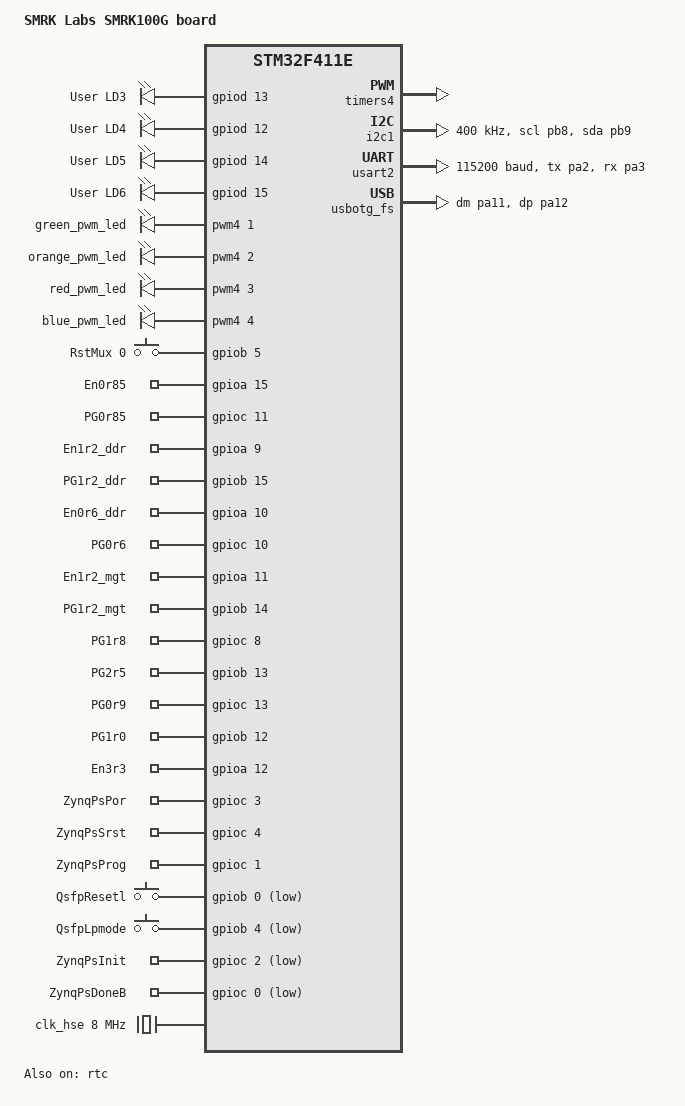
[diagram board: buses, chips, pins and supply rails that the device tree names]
/*
 * Copyright (c) 2017 Fenix Engineering Solutions
 *
 * SPDX-License-Identifier: Apache-2.0
 */

/dts-v1/;
#include <st/f4/stm32f411Xe.dtsi>
#include <st/f4/stm32f411v(c-e)tx-pinctrl.dtsi>

&flash0 {
	reg = <0x08000000 DT_SIZE_K(512)>;
	partitions {
                compatible = "fixed-partitions";
                #address-cells = <1>;
                #size-cells = <1>;
/**************************************
are these needed??? also, second number is a size, ending address....
		boot_partition: partition@0 {
			  label = "mcuboot";
			  reg = <0x00000000 0x0000C000>; 
			  read-only;
		};
		sector_3_partition: partition@C000 {
			  label = "sector3";
			  reg = <0x0000C000 0x00010000>; 
		};
		storage_partition: partition@10000 {
			  label = "storage";
			  reg = <0x00010000 0x000200000>; 
		};
*******************************************/
		boot_partition: partition@0 {
			  label = "mcuboot";
			  reg = <0x00000000 DT_SIZE_K(48)>;
			  read-only;
		};
		user_partition: partition@C000 {
			label = "user";
			reg = <0x0000C000 DT_SIZE_K(80)>;
		};
		/* image 0 & 1 are for apps */
		slot0_partition: partition@20000 {
			  label = "image-0";
			  reg = <0x00020000 DT_SIZE_K(128)>;
		};
		slot1_partition: partition@40000 {
			  label = "image-1";
			  reg = <0x00040000 DT_SIZE_K(128)>;
		};
		scratch_partition: partition@60000 {
			  label = "image-scratch";
			  reg = <0x00060000 DT_SIZE_K(128)>;
		}; 
	};
};

/ {
	model = "SMRK Labs SMRK100G board";
	compatible = "st,stm32f411e-disco";

	chosen {
		zephyr,console = &usart2;
		zephyr,shell-uart = &usart2;
		zephyr,uart-mcumgr = &usart2;
		zephyr,sram = &sram0;
		zephyr,flash = &flash0;
		zephyr,code-partition = &slot0_partition;
	};

	leds {
		compatible = "gpio-leds";
		orange_led_3: led_3 {
			gpios = <&gpiod 13 GPIO_ACTIVE_HIGH>;
			label = "User LD3";
		};
		green_led_4: led_4 {
			gpios = <&gpiod 12 GPIO_ACTIVE_HIGH>;
			label = "User LD4";
		};
		red_led_5: led_5 {
			gpios = <&gpiod 14 GPIO_ACTIVE_HIGH>;
			label = "User LD5";
		};
		blue_led_6: led_6 {
			gpios = <&gpiod 15 GPIO_ACTIVE_HIGH>;
			label = "User LD6";
		};
	};

	pwmleds {
		compatible = "pwm-leds";
		green_pwm_led: green_pwm_led {
			pwms = <&pwm4 1 PWM_MSEC(20) PWM_POLARITY_NORMAL>;
		};
		orange_pwm_led: orange_pwm_led {
			pwms = <&pwm4 2 PWM_MSEC(20) PWM_POLARITY_NORMAL>;
		};
		red_pwm_led: red_pwm_led {
			pwms = <&pwm4 3 PWM_MSEC(20) PWM_POLARITY_NORMAL>;
		};
		blue_pwm_led: blue_pwm_led {
			pwms = <&pwm4 4 PWM_MSEC(20) PWM_POLARITY_NORMAL>;
		};
	};

	i2cmux {
	       compatible = "gpio-keys";
	       RstMux: reset_mux {
	       	       gpios = <&gpiob 5 GPIO_ACTIVE_HIGH>;
		       label = "RstMux 0";
		};
	};

	power_control {
		compatible = "gpio-keys";
		EN_0R85: en_0r85 {
			gpios = <&gpioa 15 GPIO_ACTIVE_HIGH>;
			label = "En0r85";
		};
		PG_0R85: pg_0r85 {
			gpios = <&gpioc 11 GPIO_ACTIVE_HIGH>;
			label = "PG0r85";
		};
		EN_1R2_DDR: en_1r2_ddr {
			gpios = <&gpioa 9 (GPIO_ACTIVE_HIGH | GPIO_PUSH_PULL | GPIO_PULL_DOWN)>;
			label = "En1r2_ddr";
		};
		PG_1R2_DDR: pg_1r2_ddr {
			gpios = <&gpiob 15 GPIO_ACTIVE_HIGH>;
			label = "PG1r2_ddr";
		};
		EN_0R6: en_0r6 {
			gpios = <&gpioa 10  (GPIO_ACTIVE_HIGH)>;
			label = "En0r6_ddr";
		};
		PG_0R6: pg_0r6 {
			gpios = <&gpioc 10 GPIO_ACTIVE_HIGH>;
			label = "PG0r6";
		};

		EN_1R2_MGT: en_1r2_mgt {
			gpios = <&gpioa 11 (GPIO_ACTIVE_HIGH | GPIO_PUSH_PULL | GPIO_PULL_DOWN)>;
			label = "En1r2_mgt";
		};
		PG_1R2_MGT: pg_1r2_mgt {
			gpios = <&gpiob 14 GPIO_ACTIVE_HIGH>;
			label = "PG1r2_mgt";
		};

		PG_1R8: pg_1r8 {
			gpios = <&gpioc 8 GPIO_ACTIVE_HIGH>;
			label = "PG1r8";
		};

		PG_2R5: pg_2r5 {
		gpios = <&gpiob 13 GPIO_ACTIVE_HIGH>;
			label = "PG2r5";
		};

		PG_0R9: pg_0r9 {
		gpios = <&gpioc 13 GPIO_ACTIVE_HIGH>;
			label = "PG0r9";
		};

		PG_1R0: pg_1r0 {
		gpios = <&gpiob 12 GPIO_ACTIVE_HIGH>;
			label = "PG1r0";
		};


		EN_3R3: en_3r3 {
			gpios = <&gpioa 12 (GPIO_ACTIVE_HIGH | GPIO_PUSH_PULL | GPIO_PULL_DOWN)>;
			label = "En3r3";
		};

	};

	cpu_control {
		compatible = "gpio-keys";
		ZYNQ_PS_POR: zynq_ps_por {
			gpios = <&gpioc 3 GPIO_ACTIVE_HIGH>;
			label = "ZynqPsPor";
		};
		ZYNQ_PS_SRST: zynq_ps_srst {
			gpios = <&gpioc 4 GPIO_ACTIVE_HIGH>;
			label = "ZynqPsSrst";
		};
		ZYNQ_PS_PROG: zynq_ps_prog {
			gpios = <&gpioc 1 GPIO_ACTIVE_HIGH>;
			label = "ZynqPsProg";
		};
		QSFP_RESETL: qsfp_resetl {
			gpios = <&gpiob 0 (GPIO_ACTIVE_LOW | GPIO_PUSH_PULL | GPIO_PULL_UP)>;
			label = "QsfpResetl";
		};
		QSFP_LPMODE: qsfp_lpmode {
			gpios = <&gpiob 4 (GPIO_ACTIVE_LOW | GPIO_PUSH_PULL | GPIO_PULL_UP)>;
			label = "QsfpLpmode";
		};
		ZYNQ_PS_INIT: zynq_ps_init {
			gpios = <&gpioc 2 GPIO_ACTIVE_LOW>;
			label = "ZynqPsInit";
		};
		ZYNQ_PS_DONE_B: zynq_ps_done_b {
			gpios = <&gpioc 0 GPIO_ACTIVE_LOW>;
			label = "ZynqPsDoneB";
		};
	};
	aliases {
		led0 = &orange_led_3;
		led1 = &green_led_4;
		led2 = &red_led_5;
		led3 = &blue_led_6;
		pwm-led0 = &green_pwm_led;
		pwm-led1 = &orange_pwm_led;
		pwm-led2 = &red_pwm_led;
		pwm-led3 = &blue_pwm_led;
		rstmux = &RstMux;
		en-3r3 = &EN_3R3;
		en-0r85 = &EN_0R85;
		pg-0r85 = &PG_0R85;
		en-1r2-ddr = &EN_1R2_DDR;
		pg-1r2-ddr = &PG_1R2_DDR;
		en-0r6 = &EN_0R6;
		pg-0r6 = &PG_0R6;
		en-1r2-mgt = &EN_1R2_MGT;
		pg-1r2-mgt = &PG_1R2_MGT;
		pg-1r8 = &PG_1R8;
		pg-2r5 = &PG_2R5;
		pg-0r9 = &PG_0R9;
		pg-1r0 = &PG_1R0;
		zynq-ps-por = &ZYNQ_PS_POR;
		zynq-ps-srst = &ZYNQ_PS_SRST;
		zynq-ps-prog = &ZYNQ_PS_PROG;
		qsfp-resetl = &QSFP_RESETL;
		qsfp-lpmode = &QSFP_LPMODE;
		zynq-ps-init = &ZYNQ_PS_INIT;
		zynq-ps-done-b = &ZYNQ_PS_DONE_B;
		/* 		zephyr-uart_mcumgr = &usart2; */
	};
};

&clk_hse {
	clock-frequency = <DT_FREQ_M(8)>;
	status = "okay";
};

&pll {
	div-m = <4>;
	mul-n = <96>;
	div-p = <2>;
	div-q = <4>;
	clocks = <&clk_hse>;
	status = "okay";
};

&rcc {
	clocks = <&pll>;
	clock-frequency = <DT_FREQ_M(96)>;
	ahb-prescaler = <1>;
	apb1-prescaler = <2>;
	apb2-prescaler = <1>;
};

&timers4 {
	st,prescaler = <10000>;
	status = "okay";

	pwm4: pwm {
		status = "okay";
		pinctrl-0 = <&tim4_ch1_pd12
			     &tim4_ch2_pd13
			     &tim4_ch3_pd14
			     &tim4_ch4_pd15>;
		pinctrl-names = "default";
	};
};

&i2c1 {
	pinctrl-0 = <&i2c1_scl_pb8 &i2c1_sda_pb9>;
	pinctrl-names = "default";
	status = "okay";
	clock-frequency = <I2C_BITRATE_FAST>;
};

&usart2 {
	pinctrl-0 = <&usart2_tx_pa2 &usart2_rx_pa3>;
	pinctrl-names = "default";
	current-speed = <115200>;
	status = "okay";
};

&rtc {
	status = "okay";
};

zephyr_udc0: &usbotg_fs {
	pinctrl-0 = <&usb_otg_fs_dm_pa11 &usb_otg_fs_dp_pa12>;
	pinctrl-names = "default";
	status = "okay";
};
